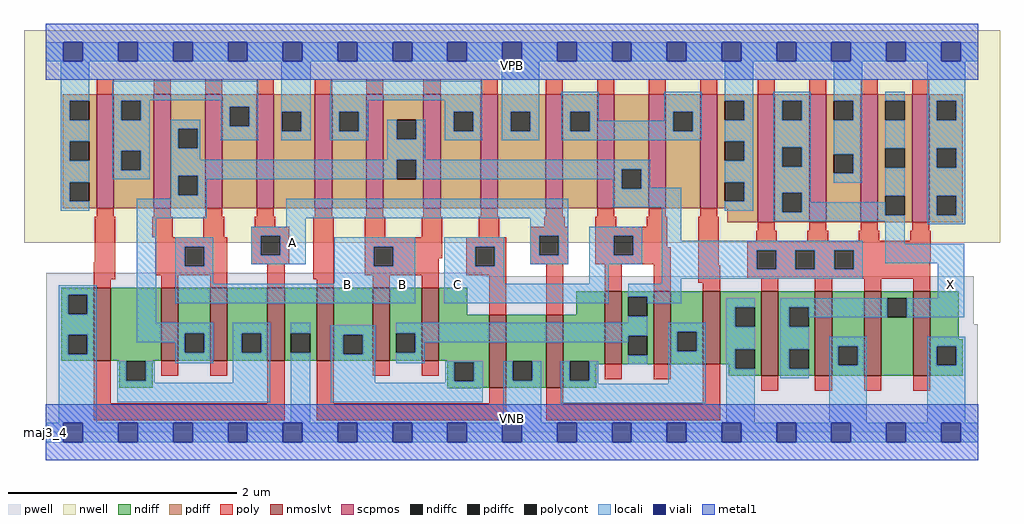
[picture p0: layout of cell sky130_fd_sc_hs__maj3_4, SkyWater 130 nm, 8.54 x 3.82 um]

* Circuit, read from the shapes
.subckt sky130_fd_sc_hs__maj3_4 A B C VGND VNB VPB VPWR X
XM1 n1 A VGND VNB sky130_fd_pr__nfet_01v8_lvt w=0.64 l=0.15 m=2
XM2 n2 B n1 VNB sky130_fd_pr__nfet_01v8_lvt w=0.64 l=0.15 m=2
XM3 n3 C VGND VNB sky130_fd_pr__nfet_01v8_lvt w=0.64 l=0.15 m=2
XM4 n2 B n3 VNB sky130_fd_pr__nfet_01v8_lvt w=0.64 l=0.15 m=2
XM5 n4 A VGND VNB sky130_fd_pr__nfet_01v8_lvt w=0.64 l=0.15 m=2
XM6 n2 C n4 VNB sky130_fd_pr__nfet_01v8_lvt w=0.64 l=0.15 m=2
XM7 X n2 VGND VNB sky130_fd_pr__nfet_01v8_lvt w=0.74 l=0.15 m=4
XM8 n5 A VPWR VPB sky130_fd_pr__pfet_01v8 w=1 l=0.15 m=2
XM9 n2 B n5 VPB sky130_fd_pr__pfet_01v8 w=1 l=0.15 m=2
XM10 n6 C VPWR VPB sky130_fd_pr__pfet_01v8 w=1 l=0.15 m=2
XM11 n2 B n6 VPB sky130_fd_pr__pfet_01v8 w=1 l=0.15 m=2
XM12 n7 A VPWR VPB sky130_fd_pr__pfet_01v8 w=1 l=0.15 m=2
XM13 n2 C n7 VPB sky130_fd_pr__pfet_01v8 w=1 l=0.15 m=2
XM14 X n2 VPWR VPB sky130_fd_pr__pfet_01v8 w=1.12 l=0.15 m=4
.ends

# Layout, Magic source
magic
tech sky130A
magscale 1 2
<< nwell >>
rect -38 332 1670 704
<< pwell >>
rect 1 273 764 279
rect 1 189 1624 273
rect 1 49 1631 189
rect 0 0 1632 49
<< scpmos >>
rect 89 392 119 592
rect 189 392 219 592
rect 279 392 309 592
rect 369 392 399 592
rect 471 392 501 592
rect 561 392 591 592
rect 661 392 691 592
rect 761 392 791 592
rect 875 392 905 592
rect 965 392 995 592
rect 1055 392 1085 592
rect 1145 392 1175 592
rect 1246 368 1276 592
rect 1336 368 1366 592
rect 1426 368 1456 592
rect 1516 368 1546 592
<< nmoslvt >>
rect 84 125 114 253
rect 202 125 232 253
rect 288 125 318 253
rect 388 125 418 253
rect 474 125 504 253
rect 572 125 602 253
rect 658 125 688 253
rect 776 78 806 206
rect 876 78 906 206
rect 978 119 1008 247
rect 1064 119 1094 247
rect 1150 119 1180 247
rect 1252 99 1282 247
rect 1346 99 1376 247
rect 1432 99 1462 247
rect 1518 99 1548 247
<< ndiff >>
rect 27 241 84 253
rect 27 207 39 241
rect 73 207 84 241
rect 27 171 84 207
rect 27 137 39 171
rect 73 137 84 171
rect 27 125 84 137
rect 114 125 202 253
rect 232 173 288 253
rect 232 139 243 173
rect 277 139 288 173
rect 232 125 288 139
rect 318 173 388 253
rect 318 139 343 173
rect 377 139 388 173
rect 318 125 388 139
rect 418 173 474 253
rect 418 139 429 173
rect 463 139 474 173
rect 418 125 474 139
rect 504 171 572 253
rect 504 137 521 171
rect 555 137 572 171
rect 504 125 572 137
rect 602 173 658 253
rect 602 139 613 173
rect 647 139 658 173
rect 602 125 658 139
rect 688 206 738 253
rect 928 206 978 247
rect 688 125 776 206
rect 129 124 187 125
rect 129 90 141 124
rect 175 90 187 124
rect 129 78 187 90
rect 703 123 776 125
rect 703 89 715 123
rect 749 89 776 123
rect 703 78 776 89
rect 806 124 876 206
rect 806 90 817 124
rect 851 90 876 124
rect 806 78 876 90
rect 906 124 978 206
rect 906 90 917 124
rect 951 119 978 124
rect 1008 237 1064 247
rect 1008 203 1019 237
rect 1053 203 1064 237
rect 1008 169 1064 203
rect 1008 135 1019 169
rect 1053 135 1064 169
rect 1008 119 1064 135
rect 1094 176 1150 247
rect 1094 142 1105 176
rect 1139 142 1150 176
rect 1094 119 1150 142
rect 1180 219 1252 247
rect 1180 185 1207 219
rect 1241 185 1252 219
rect 1180 145 1252 185
rect 1180 119 1207 145
rect 951 90 963 119
rect 906 78 963 90
rect 703 77 761 78
rect 1195 111 1207 119
rect 1241 111 1252 145
rect 1195 99 1252 111
rect 1282 219 1346 247
rect 1282 185 1301 219
rect 1335 185 1346 219
rect 1282 145 1346 185
rect 1282 111 1301 145
rect 1335 111 1346 145
rect 1282 99 1346 111
rect 1376 151 1432 247
rect 1376 117 1387 151
rect 1421 117 1432 151
rect 1376 99 1432 117
rect 1462 235 1518 247
rect 1462 201 1473 235
rect 1507 201 1518 235
rect 1462 99 1518 201
rect 1548 163 1598 247
rect 1548 151 1605 163
rect 1548 117 1559 151
rect 1593 117 1605 151
rect 1548 99 1605 117
<< pdiff >>
rect 30 580 89 592
rect 30 546 42 580
rect 76 546 89 580
rect 30 509 89 546
rect 30 475 42 509
rect 76 475 89 509
rect 30 438 89 475
rect 30 404 42 438
rect 76 404 89 438
rect 30 392 89 404
rect 119 580 189 592
rect 119 546 132 580
rect 166 546 189 580
rect 119 493 189 546
rect 119 459 132 493
rect 166 459 189 493
rect 119 392 189 459
rect 219 531 279 592
rect 219 497 232 531
rect 266 497 279 531
rect 219 449 279 497
rect 219 415 232 449
rect 266 415 279 449
rect 219 392 279 415
rect 309 570 369 592
rect 309 536 322 570
rect 356 536 369 570
rect 309 392 369 536
rect 399 561 471 592
rect 399 527 413 561
rect 447 527 471 561
rect 399 392 471 527
rect 501 561 561 592
rect 501 527 514 561
rect 548 527 561 561
rect 501 392 561 527
rect 591 547 661 592
rect 591 513 614 547
rect 648 513 661 547
rect 591 477 661 513
rect 591 443 614 477
rect 648 443 661 477
rect 591 392 661 443
rect 691 561 761 592
rect 691 527 714 561
rect 748 527 761 561
rect 691 392 761 527
rect 791 561 875 592
rect 791 527 814 561
rect 848 527 875 561
rect 791 392 875 527
rect 905 561 965 592
rect 905 527 918 561
rect 952 527 965 561
rect 905 392 965 527
rect 995 460 1055 592
rect 995 426 1008 460
rect 1042 426 1055 460
rect 995 392 1055 426
rect 1085 561 1145 592
rect 1085 527 1098 561
rect 1132 527 1145 561
rect 1085 392 1145 527
rect 1175 580 1246 592
rect 1175 546 1188 580
rect 1222 546 1246 580
rect 1175 509 1246 546
rect 1175 475 1188 509
rect 1222 475 1246 509
rect 1175 438 1246 475
rect 1175 404 1188 438
rect 1222 404 1246 438
rect 1175 392 1246 404
rect 1193 368 1246 392
rect 1276 580 1336 592
rect 1276 546 1289 580
rect 1323 546 1336 580
rect 1276 499 1336 546
rect 1276 465 1289 499
rect 1323 465 1336 499
rect 1276 419 1336 465
rect 1276 385 1289 419
rect 1323 385 1336 419
rect 1276 368 1336 385
rect 1366 580 1426 592
rect 1366 546 1379 580
rect 1413 546 1426 580
rect 1366 487 1426 546
rect 1366 453 1379 487
rect 1413 453 1426 487
rect 1366 368 1426 453
rect 1456 580 1516 592
rect 1456 546 1469 580
rect 1503 546 1516 580
rect 1456 497 1516 546
rect 1456 463 1469 497
rect 1503 463 1516 497
rect 1456 414 1516 463
rect 1456 380 1469 414
rect 1503 380 1516 414
rect 1456 368 1516 380
rect 1546 580 1605 592
rect 1546 546 1559 580
rect 1593 546 1605 580
rect 1546 497 1605 546
rect 1546 463 1559 497
rect 1593 463 1605 497
rect 1546 414 1605 463
rect 1546 380 1559 414
rect 1593 380 1605 414
rect 1546 368 1605 380
<< ndiffc >>
rect 39 207 73 241
rect 39 137 73 171
rect 243 139 277 173
rect 343 139 377 173
rect 429 139 463 173
rect 521 137 555 171
rect 613 139 647 173
rect 141 90 175 124
rect 715 89 749 123
rect 817 90 851 124
rect 917 90 951 124
rect 1019 203 1053 237
rect 1019 135 1053 169
rect 1105 142 1139 176
rect 1207 185 1241 219
rect 1207 111 1241 145
rect 1301 185 1335 219
rect 1301 111 1335 145
rect 1387 117 1421 151
rect 1473 201 1507 235
rect 1559 117 1593 151
<< pdiffc >>
rect 42 546 76 580
rect 42 475 76 509
rect 42 404 76 438
rect 132 546 166 580
rect 132 459 166 493
rect 232 497 266 531
rect 232 415 266 449
rect 322 536 356 570
rect 413 527 447 561
rect 514 527 548 561
rect 614 513 648 547
rect 614 443 648 477
rect 714 527 748 561
rect 814 527 848 561
rect 918 527 952 561
rect 1008 426 1042 460
rect 1098 527 1132 561
rect 1188 546 1222 580
rect 1188 475 1222 509
rect 1188 404 1222 438
rect 1289 546 1323 580
rect 1289 465 1323 499
rect 1289 385 1323 419
rect 1379 546 1413 580
rect 1379 453 1413 487
rect 1469 546 1503 580
rect 1469 463 1503 497
rect 1469 380 1503 414
rect 1559 546 1593 580
rect 1559 463 1593 497
rect 1559 380 1593 414
<< poly >>
rect 89 592 119 618
rect 189 592 219 618
rect 279 592 309 618
rect 369 592 399 618
rect 471 592 501 618
rect 561 592 591 618
rect 661 592 691 618
rect 761 592 791 618
rect 875 592 905 618
rect 965 592 995 618
rect 1055 592 1085 618
rect 1145 592 1175 618
rect 1246 592 1276 618
rect 1336 592 1366 618
rect 1426 592 1456 618
rect 1516 592 1546 618
rect 89 377 119 392
rect 189 377 219 392
rect 279 377 309 392
rect 369 377 399 392
rect 471 377 501 392
rect 561 377 591 392
rect 661 377 691 392
rect 761 377 791 392
rect 875 377 905 392
rect 965 377 995 392
rect 1055 377 1085 392
rect 1145 377 1175 392
rect 86 298 122 377
rect 186 341 222 377
rect 276 341 312 377
rect 366 360 402 377
rect 360 344 426 360
rect 84 268 122 298
rect 192 325 318 341
rect 192 291 243 325
rect 277 291 318 325
rect 360 310 376 344
rect 410 310 426 344
rect 360 294 426 310
rect 192 275 318 291
rect 84 253 114 268
rect 202 253 232 275
rect 288 253 318 275
rect 388 253 418 294
rect 468 268 504 377
rect 558 341 594 377
rect 658 341 694 377
rect 758 341 794 377
rect 872 360 908 377
rect 962 360 998 377
rect 1052 360 1088 377
rect 848 344 914 360
rect 558 325 694 341
rect 558 291 574 325
rect 608 305 694 325
rect 736 325 806 341
rect 608 291 688 305
rect 558 275 688 291
rect 736 291 752 325
rect 786 291 806 325
rect 848 310 864 344
rect 898 310 914 344
rect 848 294 914 310
rect 962 344 1088 360
rect 962 310 994 344
rect 1028 324 1088 344
rect 1028 310 1094 324
rect 962 294 1094 310
rect 736 275 806 291
rect 474 253 504 268
rect 572 253 602 275
rect 658 253 688 275
rect 776 206 806 275
rect 876 206 906 294
rect 978 247 1008 294
rect 1064 247 1094 294
rect 1142 292 1178 377
rect 1246 353 1276 368
rect 1336 353 1366 368
rect 1426 353 1456 368
rect 1516 353 1546 368
rect 1243 335 1279 353
rect 1333 335 1369 353
rect 1423 335 1459 353
rect 1513 335 1549 353
rect 1228 319 1549 335
rect 1142 262 1180 292
rect 1228 285 1244 319
rect 1278 285 1312 319
rect 1346 285 1380 319
rect 1414 299 1549 319
rect 1414 285 1548 299
rect 1228 269 1548 285
rect 1150 247 1180 262
rect 1252 247 1282 269
rect 1346 247 1376 269
rect 1432 247 1462 269
rect 1518 247 1548 269
rect 84 51 114 125
rect 202 99 232 125
rect 288 99 318 125
rect 388 51 418 125
rect 84 21 418 51
rect 474 51 504 125
rect 572 99 602 125
rect 658 99 688 125
rect 978 93 1008 119
rect 1064 93 1094 119
rect 776 51 806 78
rect 474 21 806 51
rect 876 51 906 78
rect 1150 51 1180 119
rect 1252 73 1282 99
rect 1346 73 1376 99
rect 1432 73 1462 99
rect 1518 73 1548 99
rect 876 21 1180 51
<< polycont >>
rect 243 291 277 325
rect 376 310 410 344
rect 574 291 608 325
rect 752 291 786 325
rect 864 310 898 344
rect 994 310 1028 344
rect 1244 285 1278 319
rect 1312 285 1346 319
rect 1380 285 1414 319
<< locali >>
rect 0 649 31 683
rect 65 649 127 683
rect 161 649 223 683
rect 257 649 319 683
rect 353 649 415 683
rect 449 649 511 683
rect 545 649 607 683
rect 641 649 703 683
rect 737 649 799 683
rect 833 649 895 683
rect 929 649 991 683
rect 1025 649 1087 683
rect 1121 649 1183 683
rect 1217 649 1279 683
rect 1313 649 1375 683
rect 1409 649 1471 683
rect 1505 649 1567 683
rect 1601 649 1632 683
rect 26 580 76 649
rect 26 546 42 580
rect 26 509 76 546
rect 26 475 42 509
rect 26 438 76 475
rect 116 581 372 615
rect 116 580 182 581
rect 116 546 132 580
rect 166 546 182 580
rect 306 570 372 581
rect 116 493 182 546
rect 116 459 132 493
rect 166 459 182 493
rect 116 443 182 459
rect 219 531 270 547
rect 219 497 232 531
rect 266 497 270 531
rect 306 536 322 570
rect 356 536 372 570
rect 306 511 372 536
rect 412 561 464 649
rect 412 527 413 561
rect 447 527 464 561
rect 412 511 464 527
rect 498 581 764 615
rect 498 561 564 581
rect 498 527 514 561
rect 548 527 564 561
rect 698 561 764 581
rect 498 511 564 527
rect 598 513 614 547
rect 648 513 664 547
rect 219 477 270 497
rect 598 477 664 513
rect 698 527 714 561
rect 748 527 764 561
rect 698 511 764 527
rect 798 561 864 649
rect 798 527 814 561
rect 848 527 864 561
rect 798 511 864 527
rect 902 561 968 596
rect 902 527 918 561
rect 952 545 968 561
rect 1082 561 1148 596
rect 1082 545 1098 561
rect 952 527 1098 545
rect 1132 527 1148 561
rect 902 511 1148 527
rect 1188 580 1238 649
rect 1222 546 1238 580
rect 1188 509 1238 546
rect 219 449 614 477
rect 26 404 42 438
rect 219 415 232 449
rect 266 443 614 449
rect 648 460 1058 477
rect 648 443 1008 460
rect 266 415 282 443
rect 219 409 282 415
rect 992 426 1008 443
rect 1042 428 1058 460
rect 1222 475 1238 509
rect 1188 438 1238 475
rect 1042 426 1112 428
rect 26 388 76 404
rect 159 375 282 409
rect 421 375 914 409
rect 992 394 1112 426
rect 23 241 89 257
rect 23 207 39 241
rect 73 207 89 241
rect 23 171 89 207
rect 23 137 39 171
rect 73 137 89 171
rect 159 192 193 375
rect 421 360 455 375
rect 360 344 455 360
rect 227 325 293 341
rect 227 291 243 325
rect 277 291 293 325
rect 360 310 376 344
rect 410 310 455 344
rect 848 344 914 375
rect 360 294 455 310
rect 505 325 647 341
rect 227 260 293 291
rect 505 291 574 325
rect 608 291 647 325
rect 505 260 647 291
rect 227 226 647 260
rect 697 325 802 341
rect 697 291 752 325
rect 786 291 802 325
rect 848 310 864 344
rect 898 310 914 344
rect 848 294 914 310
rect 951 344 1044 360
rect 951 310 994 344
rect 1028 310 1044 344
rect 951 294 1044 310
rect 1078 335 1112 394
rect 1222 404 1238 438
rect 1188 388 1238 404
rect 1273 580 1339 596
rect 1273 546 1289 580
rect 1323 546 1339 580
rect 1273 499 1339 546
rect 1273 465 1289 499
rect 1323 465 1339 499
rect 1273 419 1339 465
rect 1379 580 1429 649
rect 1413 546 1429 580
rect 1379 487 1429 546
rect 1413 453 1429 487
rect 1379 437 1429 453
rect 1469 580 1503 596
rect 1469 497 1503 546
rect 1273 385 1289 419
rect 1323 403 1339 419
rect 1469 414 1503 463
rect 1323 385 1469 403
rect 1273 380 1469 385
rect 1273 369 1503 380
rect 1078 319 1430 335
rect 697 260 802 291
rect 951 260 985 294
rect 1078 285 1244 319
rect 1278 285 1312 319
rect 1346 285 1380 319
rect 1414 285 1430 319
rect 1469 330 1503 369
rect 1543 580 1609 649
rect 1543 546 1559 580
rect 1593 546 1609 580
rect 1543 497 1609 546
rect 1543 463 1559 497
rect 1593 463 1609 497
rect 1543 414 1609 463
rect 1543 380 1559 414
rect 1593 380 1609 414
rect 1543 364 1609 380
rect 1469 296 1607 330
rect 1078 269 1430 285
rect 1078 260 1112 269
rect 697 226 985 260
rect 1019 237 1112 260
rect 1053 226 1112 237
rect 1561 235 1607 296
rect 1019 192 1053 203
rect 1191 219 1241 235
rect 159 173 293 192
rect 159 158 243 173
rect 23 17 89 137
rect 227 139 243 158
rect 277 139 293 173
rect 125 90 141 124
rect 175 90 191 124
rect 227 121 293 139
rect 327 173 393 192
rect 327 139 343 173
rect 377 139 393 173
rect 125 87 191 90
rect 327 87 393 139
rect 125 53 393 87
rect 429 173 463 192
rect 429 17 463 139
rect 499 171 577 187
rect 499 137 521 171
rect 555 137 577 171
rect 499 87 577 137
rect 613 173 1053 192
rect 647 169 1053 173
rect 647 158 1019 169
rect 647 139 663 158
rect 613 121 663 139
rect 699 123 765 124
rect 699 89 715 123
rect 749 89 765 123
rect 699 87 765 89
rect 499 53 765 87
rect 801 90 817 124
rect 851 90 867 124
rect 801 17 867 90
rect 901 90 917 124
rect 951 90 967 124
rect 1019 119 1053 135
rect 1089 176 1155 192
rect 1089 142 1105 176
rect 1139 142 1155 176
rect 901 85 967 90
rect 1089 85 1155 142
rect 901 51 1155 85
rect 1191 185 1207 219
rect 1191 145 1241 185
rect 1191 111 1207 145
rect 1191 17 1241 111
rect 1285 219 1473 235
rect 1285 185 1301 219
rect 1335 201 1473 219
rect 1507 201 1607 235
rect 1285 145 1335 185
rect 1285 111 1301 145
rect 1285 95 1335 111
rect 1371 151 1437 167
rect 1371 117 1387 151
rect 1421 117 1437 151
rect 1371 17 1437 117
rect 1543 151 1609 167
rect 1543 117 1559 151
rect 1593 117 1609 151
rect 1543 17 1609 117
rect 0 -17 31 17
rect 65 -17 127 17
rect 161 -17 223 17
rect 257 -17 319 17
rect 353 -17 415 17
rect 449 -17 511 17
rect 545 -17 607 17
rect 641 -17 703 17
rect 737 -17 799 17
rect 833 -17 895 17
rect 929 -17 991 17
rect 1025 -17 1087 17
rect 1121 -17 1183 17
rect 1217 -17 1279 17
rect 1313 -17 1375 17
rect 1409 -17 1471 17
rect 1505 -17 1567 17
rect 1601 -17 1632 17
<< viali >>
rect 31 649 65 683
rect 127 649 161 683
rect 223 649 257 683
rect 319 649 353 683
rect 415 649 449 683
rect 511 649 545 683
rect 607 649 641 683
rect 703 649 737 683
rect 799 649 833 683
rect 895 649 929 683
rect 991 649 1025 683
rect 1087 649 1121 683
rect 1183 649 1217 683
rect 1279 649 1313 683
rect 1375 649 1409 683
rect 1471 649 1505 683
rect 1567 649 1601 683
rect 31 -17 65 17
rect 127 -17 161 17
rect 223 -17 257 17
rect 319 -17 353 17
rect 415 -17 449 17
rect 511 -17 545 17
rect 607 -17 641 17
rect 703 -17 737 17
rect 799 -17 833 17
rect 895 -17 929 17
rect 991 -17 1025 17
rect 1087 -17 1121 17
rect 1183 -17 1217 17
rect 1279 -17 1313 17
rect 1375 -17 1409 17
rect 1471 -17 1505 17
rect 1567 -17 1601 17
<< metal1 >>
rect 0 683 1632 715
rect 0 649 31 683
rect 65 649 127 683
rect 161 649 223 683
rect 257 649 319 683
rect 353 649 415 683
rect 449 649 511 683
rect 545 649 607 683
rect 641 649 703 683
rect 737 649 799 683
rect 833 649 895 683
rect 929 649 991 683
rect 1025 649 1087 683
rect 1121 649 1183 683
rect 1217 649 1279 683
rect 1313 649 1375 683
rect 1409 649 1471 683
rect 1505 649 1567 683
rect 1601 649 1632 683
rect 0 617 1632 649
rect 0 17 1632 49
rect 0 -17 31 17
rect 65 -17 127 17
rect 161 -17 223 17
rect 257 -17 319 17
rect 353 -17 415 17
rect 449 -17 511 17
rect 545 -17 607 17
rect 641 -17 703 17
rect 737 -17 799 17
rect 833 -17 895 17
rect 929 -17 991 17
rect 1025 -17 1087 17
rect 1121 -17 1183 17
rect 1217 -17 1279 17
rect 1313 -17 1375 17
rect 1409 -17 1471 17
rect 1505 -17 1567 17
rect 1601 -17 1632 17
rect 0 -49 1632 -17
<< labels >>
rlabel comment s 0 0 0 0 4 maj3_4
flabel pwell s 0 0 1632 49 0 FreeSans 200 0 0 0 VNB
port 5 nsew ground bidirectional
flabel nwell s 0 617 1632 666 0 FreeSans 200 0 0 0 VPB
port 6 nsew power bidirectional
flabel metal1 s 0 617 1632 666 0 FreeSans 340 0 0 0 VPWR
port 7 nsew power bidirectional
flabel metal1 s 0 0 1632 49 0 FreeSans 340 0 0 0 VGND
port 4 nsew ground bidirectional
flabel locali s 703 242 737 276 0 FreeSans 340 0 0 0 C
port 3 nsew signal input
flabel locali s 511 242 545 276 0 FreeSans 340 0 0 0 B
port 2 nsew signal input
flabel locali s 607 242 641 276 0 FreeSans 340 0 0 0 B
port 2 nsew signal input
flabel locali s 1567 242 1601 276 0 FreeSans 340 0 0 0 X
port 8 nsew signal output
flabel locali s 415 316 449 350 0 FreeSans 340 0 0 0 A
port 1 nsew signal input
<< properties >>
string LEFsite unit
string LEFclass CORE
string FIXED_BBOX 0 0 1632 666
string GDS_FILE $PDKPATH/libs.ref/sky130_fd_sc_hs/gds/sky130_fd_sc_hs.gds
string LEFsymmetry X Y
string GDS_END 3896038
string GDS_START 3883732
<< end >>
